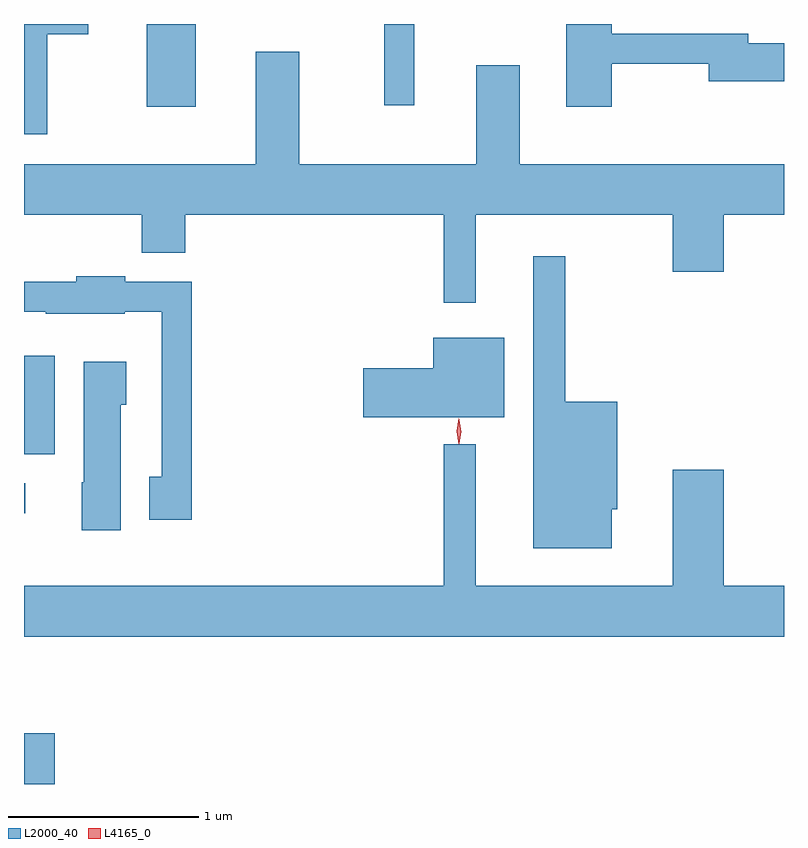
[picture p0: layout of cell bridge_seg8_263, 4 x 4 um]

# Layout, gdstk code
import gdstk
lib = gdstk.Library(unit=1e-6, precision=1e-09)
def R(c, l, rs):  # rectangles x0, y0, x1, y1
    for r in rs: c.add(gdstk.rectangle(r[:2], r[2:], *l))
def P(c, l, *ps):  # polygons
    for p in ps: c.add(gdstk.Polygon(p, *l))
L2000_40 = (2000, 40)
L4165_0 = (4165, 0)

bridge_seg8_263 = lib.new_cell('bridge_seg8_263')
R(bridge_seg8_263, L2000_40, [(1230.641,1828.981,1230.804,1829.249), (1230.641,1830.406,1230.648,1830.564), (1230.641,1830.716,1230.804,1831.234), (1231.286,1832.546,1231.544,1832.981), (1232.536,1832.553,1232.694,1832.981)])
P(bridge_seg8_263, L2000_40, [(1233.734,1832.771),(1234.246,1832.771),(1234.246,1832.681),(1234.641,1832.681),(1234.641,1832.879),(1234.454,1832.879),(1234.454,1832.929),(1233.734,1832.929),(1233.734,1832.981),(1233.496,1832.981),(1233.496,1832.546),(1233.734,1832.546)],
  [(1230.764,1832.926),(1230.979,1832.926),(1230.979,1832.981),(1230.641,1832.981),(1230.641,1832.401),(1230.764,1832.401)],
  [(1233.019,1831.976),(1234.056,1831.976),(1234.056,1831.676),(1234.324,1831.676),(1234.324,1831.976),(1234.641,1831.976),(1234.641,1832.244),(1233.249,1832.244),(1233.249,1832.764),(1233.021,1832.764),(1233.021,1832.244),(1232.089,1832.244),(1232.089,1832.834),(1231.861,1832.834),(1231.861,1832.244),(1230.641,1832.244),(1230.641,1831.976),(1231.261,1831.976),(1231.261,1831.776),(1231.489,1831.776),(1231.489,1831.976),(1232.851,1831.976),(1232.851,1831.513),(1233.019,1831.513)],
  [(1233.734,1830.426),(1233.764,1830.426),(1233.764,1830.994),(1233.489,1830.994),(1233.489,1831.758),(1233.321,1831.758),(1233.321,1830.221),(1233.734,1830.221)],
  [(1231.524,1831.624),(1231.174,1831.624),(1231.174,1831.654),(1230.916,1831.654),(1230.916,1831.624),(1230.641,1831.624),(1230.641,1831.466),(1230.755,1831.466),(1230.755,1831.456),(1231.17,1831.456),(1231.17,1831.466),(1231.366,1831.466),(1231.366,1830.599),(1231.301,1830.599),(1231.301,1830.371),(1231.524,1830.371)],
  [(1233.169,1831.329),(1232.796,1831.329),(1232.796,1831.169),(1232.426,1831.169),(1232.426,1830.911),(1233.169,1830.911)],
  [(1231.149,1830.976),(1231.179,1830.976),(1231.179,1831.204),(1230.956,1831.204),(1230.956,1830.57),(1230.946,1830.57),(1230.946,1830.316),(1231.149,1830.316)],
  [(1234.641,1830.024),(1234.324,1830.024),(1234.324,1830.634),(1234.056,1830.634),(1234.056,1830.024),(1233.019,1830.024),(1233.019,1830.768),(1232.851,1830.768),(1232.851,1830.024),(1230.641,1830.024),(1230.641,1829.756),(1234.641,1829.756)])
P(bridge_seg8_263, L4165_0, [(1232.929,1830.77),(1232.919,1830.838),(1232.928,1830.905),(1232.928,1830.906),(1232.929,1830.905),(1232.939,1830.838),(1232.93,1830.77),(1232.93,1830.77)],
  [(1232.932,1830.773),(1232.932,1830.773),(1232.922,1830.836),(1232.932,1830.899),(1232.932,1830.9),(1232.933,1830.899),(1232.942,1830.836),(1232.933,1830.773)])

lib.write_gds('bridge_seg8_263.gds')
